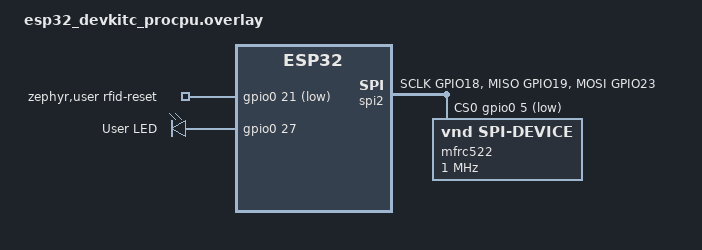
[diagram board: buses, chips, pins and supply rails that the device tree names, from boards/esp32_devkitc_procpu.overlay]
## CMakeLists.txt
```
cmake_minimum_required(VERSION 3.20.0)

find_package(Zephyr REQUIRED HINTS $ENV{ZEPHYR_BASE})
project(tapgate)
file(GLOB APP_SOURCES "src/*.c")

target_sources(app PRIVATE ${APP_SOURCES})
```

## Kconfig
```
mainmenu "TapGate - RFID Access Control & Attendance"

config WIFI_SSID
	string "WiFi SSID"
	help
	  SSID of the WiFi network to connect to. Set it in prj.conf.

config WIFI_PSK
	string "WiFi Password"
	help
	  WPA2-PSK password for the WiFi network. Set it in prj.conf.

source "Kconfig.zephyr"
```

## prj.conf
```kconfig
# ============================================================================
# CHANGE THESE to match your WiFi network before building.
# Do not commit real credentials to a public repository.
# ============================================================================
CONFIG_WIFI_SSID="your-ssid"
CONFIG_WIFI_PSK="your-password"

# Networking
CONFIG_NETWORKING=y
CONFIG_NET_IPV4=y
CONFIG_NET_DHCPV4=y
CONFIG_NET_TCP=y

# WiFi
CONFIG_WIFI=y
CONFIG_NET_L2_WIFI_MGMT=y
CONFIG_NET_MGMT=y
CONFIG_NET_MGMT_EVENT=y
CONFIG_NET_MGMT_EVENT_INFO=y

# Stack sizes for ESP32
CONFIG_MAIN_STACK_SIZE=8192
CONFIG_NET_TX_STACK_SIZE=4096
CONFIG_NET_RX_STACK_SIZE=4096


CONFIG_SPI=y
CONFIG_GPIO=y

# Network buffers (increased for HTTP)
CONFIG_NET_PKT_RX_COUNT=16
CONFIG_NET_PKT_TX_COUNT=16
CONFIG_NET_BUF_RX_COUNT=64
CONFIG_NET_BUF_TX_COUNT=64

# Logging
CONFIG_LOG=y
CONFIG_NET_LOG=y


# Sockets
CONFIG_NET_SOCKETS=y
CONFIG_POSIX_API=y

# HTTP Client
CONFIG_HTTP_CLIENT=y

# DNS Resolver
CONFIG_DNS_RESOLVER=y
CONFIG_DNS_SERVER_IP_ADDRESSES=y
CONFIG_DNS_SERVER1="8.8.8.8"

CONFIG_FLASH=y
CONFIG_FLASH_MAP=y
CONFIG_FILE_SYSTEM=y
CONFIG_FILE_SYSTEM_LITTLEFS=y

CONFIG_JSON_LIBRARY=y
```

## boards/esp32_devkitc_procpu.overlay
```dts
/ {
    zephyr,user {
        rfid-reset-gpios = <&gpio0 21 GPIO_ACTIVE_LOW>;
    };

    /* Add LED node here */
    leds {
        compatible = "gpio-leds";
        led0: led_0 {
            /* Access-granted indicator. Change the pin to match your wiring. */
            gpios = <&gpio0 27 GPIO_ACTIVE_HIGH>;
            label = "User LED";
        };
    };

    aliases {
        led0 = &led0;
    };
};

&pinctrl {
    spim2_default: spim2_default {
        group1 {
            pinmux = <SPIM2_SCLK_GPIO18>,
                     <SPIM2_MISO_GPIO19>;
        };
        group2 {
            pinmux = <SPIM2_MOSI_GPIO23>;
            output-low;
        };
    };
};

&spi2 {
    status = "okay";
    pinctrl-0 = <&spim2_default>;
    pinctrl-names = "default";
    cs-gpios = <&gpio0 5 GPIO_ACTIVE_LOW>;

    mfrc522: mfrc522@0 {
        compatible = "vnd,spi-device";
        reg = <0>;
        spi-max-frequency = <1000000>;
    };
};
```

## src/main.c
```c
#include <zephyr/kernel.h>
#include <zephyr/logging/log.h>
#include <string.h>
#include <zephyr/drivers/gpio.h>
#include "wifi.h"
#include "http_client.h"
#include "storage.h"
#include "rfid.h"
#include "employee_sync.h"
#include "attendance.h"

LOG_MODULE_REGISTER(app, LOG_LEVEL_INF);

/* LED from alias */
#define LED0_NODE DT_ALIAS(led0)
static const struct gpio_dt_spec led = GPIO_DT_SPEC_GET(LED0_NODE, gpios);

/* API Endpoints */
#define API_HOST "jsonplaceholder.typicode.com"
#define API_PORT "80"
#define API_PATH "/todos/1"

#define WEBHOOK_HOST "webhook.site"
#define WEBHOOK_PORT "80"
#define WEBHOOK_PATH "/bac98fb5-b92e-4d75-b4ae-5c0e6beafe33"
#define CARD_COOLDOWN_MS 3000  /* ignore repeat reads of the same card within 3s */

/* File name to store our GET data in LittleFS */
#define DATA_FILE "last_api_response.txt"

/* Forward declaration (required before K_TIMER_DEFINE) */
void led_timer_expiry(struct k_timer *timer);

/* Static timer definition — no k_timer_init needed! */
K_TIMER_DEFINE(led_timer, led_timer_expiry, NULL);

/* Buffers */
static uint8_t response_buffer[2048];
static char saved_data[2048];

static char last_uid[32] = {0};
static int64_t last_read_time = 0;

/* Callback: turn LED off when timer expires */
void led_timer_expiry(struct k_timer *timer)
{
    gpio_pin_set_dt(&led, 0);  /* Turn off after delay */
}

int main(void)
{
    int ret;

    LOG_INF("TapGate starting...");

    /* 1. Initialize LittleFS */
    ret = storage_init();
    if (ret < 0) {
        LOG_ERR("Storage initialization failed: %d", ret);
        return ret;
    }
    LOG_INF("Storage mounted successfully.");

    /* 2. Check flash for data from the LAST boot */
    ret = storage_load(DATA_FILE, saved_data, sizeof(saved_data) - 1);
    if (ret > 0) {
        LOG_INF("=== DATA SURVIVED THE REBOOT ===");
        LOG_INF("%.200s", saved_data);
        LOG_INF("=================================");
    } else {
        LOG_INF("No existing data found (normal on first boot).");
    }

    /* 3. Initialize LED */
    if (!gpio_is_ready_dt(&led)) {
        LOG_ERR("LED GPIO not ready");
        return -ENODEV;
    }
    ret = gpio_pin_configure_dt(&led, GPIO_OUTPUT_INACTIVE);
    if (ret < 0) {
        LOG_ERR("LED config failed: %d", ret);
        return ret;
    }

    /* 4. Connect to WiFi */
    ret = wifi_init_and_connect();
    if (ret < 0) {
        LOG_ERR("Failed to connect to network");
        return ret;
    }

    k_sleep(K_MSEC(500));

    if (employees_sync() < 0) {
        LOG_WRN("Employee sync failed, using stale local cache");
    }

    if (rfid_init() != 0) {
        LOG_ERR("Failed to initialize MFRC522");
    } else {
        LOG_INF("MFRC522 RFID Reader Ready!");
    }

    employees_sync_start_periodic(15);
    attendance_start_reporting();

    rfid_uid_t uid;
    while (1) {
        if (rfid_is_new_card_present() && rfid_read_card_serial(&uid)) {
            char uid_str[32] = {0};
            char tmp[4];

            for (uint8_t i = 0; i < uid.size; i++) {
                snprintf(tmp, sizeof(tmp), "%02X", uid.uidByte[i]);
                strcat(uid_str, tmp);
            }

            int64_t now = k_uptime_get();
            bool same_card = (strcmp(uid_str, last_uid) == 0);
            bool cooldown_passed = (now - last_read_time) >= CARD_COOLDOWN_MS;

            if (!same_card || cooldown_passed) {
                bool authorized = employees_is_authorized(uid_str);

                if (authorized) {
                    LOG_INF("Access granted: %s", uid_str);
                    gpio_pin_set_dt(&led, 1);
                    k_timer_start(&led_timer, K_MSEC(1000), K_NO_WAIT);
                } else {
                    LOG_WRN("Access denied: %s", uid_str);
                }

                attendance_report_event(uid_str, authorized);

                strncpy(last_uid, uid_str, sizeof(last_uid) - 1);
                last_uid[sizeof(last_uid) - 1] = '\0';  /* Ensure null termination */
                last_read_time = now;
            }
        }
        k_msleep(250);
    }

    /* Unreachable — kept only for completeness */
    LOG_INF("Application finished.");
    return 0;
}
```

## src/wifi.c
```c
#include "wifi.h"
#include <zephyr/kernel.h>
#include <zephyr/logging/log.h>
#include <zephyr/net/wifi_mgmt.h>
#include <zephyr/net/net_if.h>
#include <zephyr/net/net_event.h>
#include <string.h>

LOG_MODULE_REGISTER(wifi, LOG_LEVEL_INF);

static struct net_mgmt_event_callback wifi_cb;
static struct net_mgmt_event_callback ipv4_cb;
static K_SEM_DEFINE(ip_obtained_sem, 0, 1);

static void wifi_event_handler(struct net_mgmt_event_callback *cb,
                               uint64_t mgmt_event, struct net_if *iface)
{
    if (mgmt_event == NET_EVENT_WIFI_CONNECT_RESULT) {
        LOG_INF("WiFi connected");
    } else if (mgmt_event == NET_EVENT_WIFI_DISCONNECT_RESULT) {
        LOG_INF("WiFi disconnected");
    }
}

static void ipv4_event_handler(struct net_mgmt_event_callback *cb,
                               uint64_t mgmt_event, struct net_if *iface)
{
    if (mgmt_event == NET_EVENT_IPV4_ADDR_ADD) {
        struct net_if_ipv4 *ipv4 = iface->config.ip.ipv4;

        if (ipv4) {
            char addr_str[NET_IPV4_ADDR_LEN];

            for (int i = 0; i < NET_IF_MAX_IPV4_ADDR; i++) {
                if (ipv4->unicast[i].ipv4.is_used) {
                    net_addr_ntop(AF_INET,
                                  &ipv4->unicast[i].ipv4.address.in_addr,
                                  addr_str, sizeof(addr_str));
                    LOG_INF("IP Address: %s", addr_str);
                }
            }
        }
        k_sem_give(&ip_obtained_sem);
    }
}

static int connect_wifi(void)
{
    struct net_if *iface = net_if_get_default();
    struct wifi_connect_req_params params = {
        .ssid = CONFIG_WIFI_SSID,
        .ssid_length = strlen(CONFIG_WIFI_SSID),
        .psk = CONFIG_WIFI_PSK,
        .psk_length = strlen(CONFIG_WIFI_PSK),
        .channel = WIFI_CHANNEL_ANY,
        .band = WIFI_FREQ_BAND_2_4_GHZ,
        .security = WIFI_SECURITY_TYPE_PSK,
    };

    LOG_INF("Connecting to %s...", CONFIG_WIFI_SSID);
    return net_mgmt(NET_REQUEST_WIFI_CONNECT, iface, &params, sizeof(params));
}

int wifi_init_and_connect(void)
{
    int ret;

    if (strlen(CONFIG_WIFI_SSID) == 0 ||
        strcmp(CONFIG_WIFI_SSID, "your-ssid") == 0) {
        LOG_ERR("WiFi credentials not set.");
        LOG_ERR("Edit CONFIG_WIFI_SSID / CONFIG_WIFI_PSK in prj.conf");
        return -EINVAL;
    }

    net_mgmt_init_event_callback(&wifi_cb, wifi_event_handler,
                                 NET_EVENT_WIFI_CONNECT_RESULT |
                                 NET_EVENT_WIFI_DISCONNECT_RESULT);
    net_mgmt_add_event_callback(&wifi_cb);

    net_mgmt_init_event_callback(&ipv4_cb, ipv4_event_handler,
                                 NET_EVENT_IPV4_ADDR_ADD);
    net_mgmt_add_event_callback(&ipv4_cb);

    k_sleep(K_SECONDS(2));

    ret = connect_wifi();
    if (ret) {
        LOG_ERR("WiFi connect request failed: %d", ret);
        return ret;
    }

    /* Block until DHCP gives us an IP */
    LOG_INF("Waiting for IP address...");
    ret = k_sem_take(&ip_obtained_sem, K_SECONDS(30));
    if (ret < 0) {
        LOG_ERR("Timeout waiting for IP address");
        return ret;
    }

    return 0;
}
```
